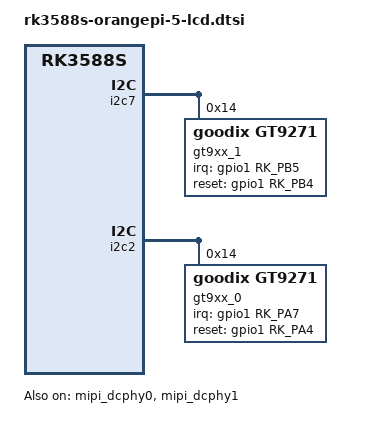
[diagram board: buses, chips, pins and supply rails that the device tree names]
// SPDX-License-Identifier: (GPL-2.0+ OR MIT)

&dsi0 {
	status = "disabled";
};

&dsi0_panel {
	status = "disabled";
	reset-gpios = <&gpio1 RK_PB1 GPIO_ACTIVE_LOW>;
	enable-gpios = <&gpio1 RK_PA0 GPIO_ACTIVE_HIGH>;
	pinctrl-names = "default";
	pinctrl-0 = <&lcd0_rst_gpio>;
};

&dsi0_in_vp2 {
	status = "disabled";
};

&dsi0_in_vp3 {
	status = "disabled";
};

&route_dsi0 {
	status = "disabled";
	connect = <&vp3_out_dsi0>;
};

&mipi_dcphy0 {
	status = "okay";
};

&i2c7 {
	status = "okay";
	pinctrl-names = "default";
	pinctrl-0 = <&i2c7m0_xfer>;

	gt9xx_1: touchscreen@14 {
		compatible = "goodix,gt9271";
		reg = <0x14>;
		interrupt-parent = <&gpio1>;
		interrupts = <RK_PB5 IRQ_TYPE_LEVEL_LOW>;
		irq-gpios = <&gpio1 RK_PB5 IRQ_TYPE_LEVEL_LOW>;
		reset-gpios = <&gpio1 RK_PB4 GPIO_ACTIVE_HIGH>;
		touchscreen-inverted-x;
		//touchscreen-inverted-y;
		touchscreen-swapped-x-y;
		touchscreen-size-x = <1280>;
		touchscreen-size-y = <800>;
		status = "okay";
	};
};



&dsi1 {
	status = "disabled";
};

&dsi1_panel {
	status = "disabled";
	reset-gpios = <&gpio1 RK_PB3 GPIO_ACTIVE_LOW>;
	enable-gpios = <&gpio1 RK_PA1 GPIO_ACTIVE_HIGH>;
	pinctrl-names = "default";
	pinctrl-0 = <&lcd1_rst_gpio>;
};

&dsi1_in_vp2 {
	status = "disabled";
};

&dsi1_in_vp3 {
	status = "disabled";
};

&route_dsi1 {
	status = "disabled";
	connect = <&vp3_out_dsi1>;
};

&mipi_dcphy1 {
	status = "okay";
};

&i2c2 {
	status = "okay";

	gt9xx_0: touchscreen@14 {
		compatible = "goodix,gt9271";
		reg = <0x14>;
		interrupt-parent = <&gpio1>;
		interrupts = <RK_PA7 IRQ_TYPE_LEVEL_LOW>;
		irq-gpios = <&gpio1 RK_PA7 IRQ_TYPE_LEVEL_LOW>;
		reset-gpios = <&gpio1 RK_PA4 GPIO_ACTIVE_HIGH>;
		touchscreen-inverted-x;
		//touchscreen-inverted-y;
		touchscreen-swapped-x-y;
		touchscreen-size-x = <1280>;
		touchscreen-size-y = <800>;
		status = "okay";
	};
};
